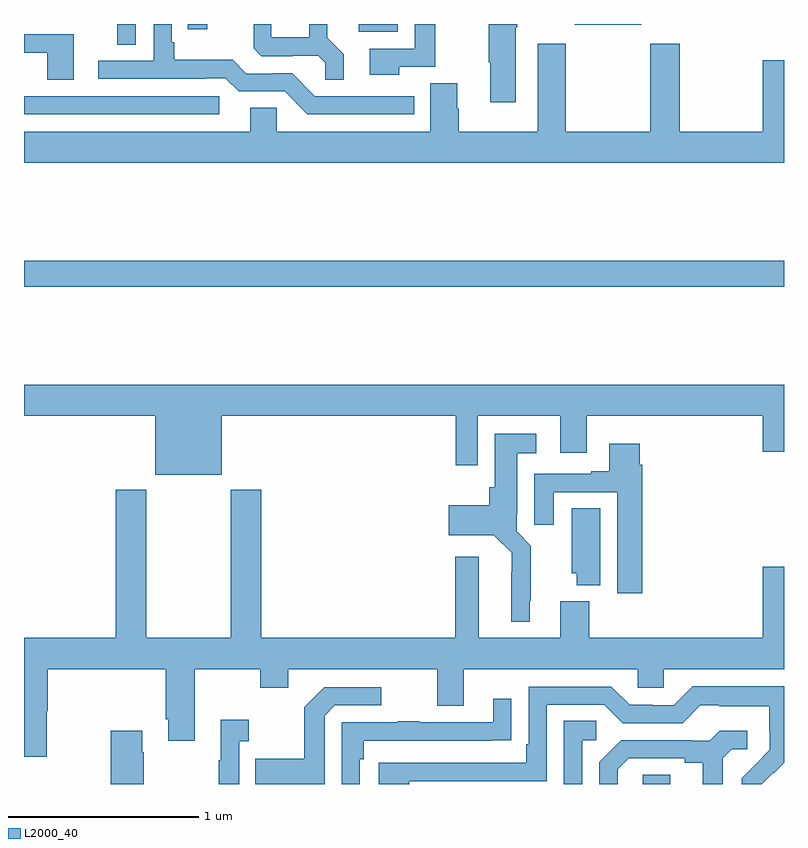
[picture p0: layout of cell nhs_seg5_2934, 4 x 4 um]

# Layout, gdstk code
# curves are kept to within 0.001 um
import gdstk
lib = gdstk.Library(unit=1e-6, precision=1e-09)
def R(c, l, rs):  # rectangles x0, y0, x1, y1
    for r in rs: c.add(gdstk.rectangle(r[:2], r[2:], *l))
def P(c, l, *ps):  # polygons
    for p in ps: c.add(gdstk.Polygon(p, *l))
L2000_40 = (2000, 40)

nhs_seg5_2934 = lib.new_cell('nhs_seg5_2934')
R(nhs_seg5_2934, L2000_40, [(284.256,878.799,284.401,878.849), (281,881.416,285,881.552), (281,882.324,282.028,882.42), (281.491,882.691,281.589,882.799), (282.761,882.758,282.967,882.799), (281.863,882.771,281.964,882.799), (283.898,882.794,284.248,882.799)])
P(nhs_seg5_2934, L2000_40, [(282.683,882.641),(282.597,882.727),(282.597,882.799),(282.5,882.799),(282.5,882.73),(282.302,882.73),(282.302,882.799),(282.208,882.799),(282.208,882.671),(282.249,882.63),(282.414,882.63),(282.414,882.633),(282.548,882.633),(282.585,882.596),(282.585,882.505),(282.683,882.505)],
  [(282.975,882.573),(283.165,882.573),(283.165,882.799),(283.056,882.799),(283.056,882.669),(282.819,882.669),(282.819,882.533),(282.975,882.533)],
  [(283.054,882.42),(282.531,882.42),(282.411,882.54),(282.31,882.54),(282.31,882.537),(282.171,882.537),(282.098,882.61),(281.791,882.61),(281.791,882.703),(281.778,882.703),(281.778,882.799),(281.682,882.799),(281.682,882.606),(281.391,882.606),(281.391,882.51),(281.96,882.51),(281.96,882.513),(282.06,882.513),(282.129,882.444),(282.372,882.444),(282.492,882.324),(283.054,882.324)],
  [(283.588,882.781),(283.596,882.781),(283.596,882.799),(283.447,882.799),(283.447,882.599),(283.454,882.599),(283.454,882.387),(283.588,882.387)],
  [(281.263,882.744),(281,882.744),(281,882.648),(281.123,882.648),(281.123,882.505),(281.263,882.505)],
  [(285,882.607),(284.888,882.607),(284.888,882.232),(284.451,882.232),(284.451,882.694),(284.296,882.694),(284.296,882.232),(283.851,882.232),(283.851,882.694),(283.703,882.694),(283.703,882.232),(283.287,882.232),(283.287,882.354),(283.279,882.354),(283.279,882.488),(283.139,882.488),(283.139,882.232),(282.33,882.232),(282.33,882.359),(282.191,882.359),(282.191,882.232),(281,882.232),(281,882.068),(285,882.068)],
  [(282.04,880.736),(283.273,880.736),(283.273,880.476),(283.389,880.476),(283.389,880.736),(283.823,880.736),(283.823,880.542),(283.963,880.542),(283.963,880.736),(284.888,880.736),(284.888,880.548),(285,880.548),(285,880.9),(281,880.9),(281,880.736),(281.69,880.736),(281.69,880.427),(282.04,880.427)],
  [(283.663,879.763),(283.667,879.763),(283.667,880.054),(283.593,880.128),(283.593,880.222),(283.597,880.222),(283.597,880.541),(283.696,880.541),(283.696,880.642),(283.478,880.642),(283.478,880.362),(283.448,880.362),(283.448,880.267),(283.236,880.267),(283.236,880.109),(283.473,880.109),(283.566,880.016),(283.565,879.653),(283.663,879.653)],
  [(284.255,880.478),(284.242,880.478),(284.242,880.591),(284.081,880.591),(284.081,880.444),(283.985,880.444),(283.985,880.431),(283.685,880.431),(283.685,880.164),(283.789,880.164),(283.789,880.335),(284.123,880.335),(284.123,879.804),(284.255,879.804)],
  [(284.229,879.306),(284.367,879.306),(284.367,879.404),(285,879.404),(285,879.943),(284.888,879.943),(284.888,879.568),(283.976,879.568),(283.976,879.76),(283.823,879.76),(283.823,879.568),(283.393,879.568),(283.393,879.994),(283.271,879.994),(283.271,879.568),(282.248,879.568),(282.248,880.348),(282.088,880.348),(282.088,879.568),(281.643,879.568),(281.643,880.348),(281.483,880.348),(281.483,879.568),(281,879.568),(281,878.943),(281.121,878.943),(281.121,879.182),(281.126,879.182),(281.126,879.404),(281.747,879.404),(281.747,879.139),(281.759,879.139),(281.759,879.027),(281.899,879.027),(281.899,879.404),(282.244,879.404),(282.244,879.305),(282.391,879.305),(282.391,879.404),(283.175,879.404),(283.175,879.21),(283.315,879.21),(283.315,879.404),(284.229,879.404)],
  [(284.032,880.25),(283.883,880.25),(283.883,879.909),(283.91,879.909),(283.91,879.845),(284.032,879.845)],
  [(283.028,878.814),(283.752,878.814),(283.752,879.216),(284.055,879.216),(284.151,879.12),(284.466,879.12),(284.559,879.213),(284.659,879.213),(284.659,879.209),(284.922,879.209),(284.922,879.075),(284.924,879.075),(284.924,878.978),(284.778,878.83),(284.778,878.799),(284.883,878.799),(284.943,878.859),(284.946,878.856),(285,878.91),(285,879.313),(284.521,879.313),(284.421,879.213),(284.306,879.213),(284.306,879.216),(284.187,879.216),(284.091,879.312),(283.656,879.312),(283.656,879.007),(283.643,879.007),(283.643,878.91),(282.867,878.91),(282.867,878.799),(283.028,878.799)],
  [(282.582,879.159),(282.636,879.213),(282.88,879.213),(282.88,879.309),(282.579,879.309),(282.474,879.203),(282.474,878.931),(282.217,878.931),(282.217,878.799),(282.582,878.799)],
  [(282.768,878.93),(282.788,878.93),(282.788,879.027),(283.463,879.027),(283.463,879.028),(283.565,879.028),(283.565,879.247),(283.469,879.247),(283.469,879.123),(283.079,879.123),(283.079,879.128),(282.967,879.128),(282.967,879.123),(282.672,879.123),(282.672,878.799),(282.768,878.799)],
  [(282.132,879.023),(282.184,879.023),(282.184,879.136),(282.035,879.136),(282.035,878.923),(282.024,878.923),(282.024,878.799),(282.132,878.799)],
  [(283.938,879.03),(284.011,879.03),(284.011,879.131),(283.842,879.131),(283.842,878.799),(283.938,878.799)],
  [(284.125,878.877),(284.182,878.934),(284.477,878.934),(284.477,878.912),(284.573,878.912),(284.573,878.799),(284.677,878.799),(284.677,878.935),(284.724,878.982),(284.806,878.982),(284.806,879.079),(284.662,879.079),(284.61,879.027),(284.516,879.027),(284.516,879.03),(284.144,879.03),(284.028,878.914),(284.028,878.799),(284.125,878.799)],
  [(281.631,878.966),(281.623,878.966),(281.623,879.079),(281.456,879.079),(281.456,878.799),(281.631,878.799)])

lib.write_gds('nhs_seg5_2934.gds')
